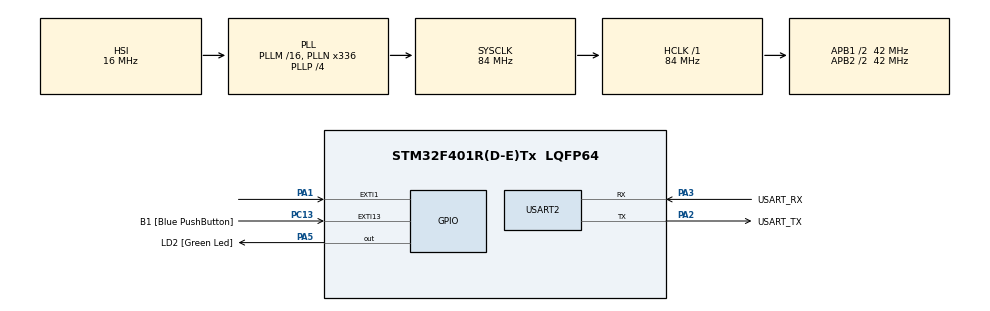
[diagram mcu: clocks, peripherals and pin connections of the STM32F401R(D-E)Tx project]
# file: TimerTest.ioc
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Mcu.Family=STM32F4
Mcu.Name=STM32F401R(D-E)Tx
Mcu.Package=LQFP64
NVIC.EXTI1_IRQn=true\:0\:0\:false\:false\:true\:true\:true
NVIC.PriorityGroup=NVIC_PRIORITYGROUP_0
NVIC.TIM1_BRK_TIM9_IRQn=true\:0\:0\:false\:false\:true\:true\:true
NVIC.TIM1_UP_TIM10_IRQn=true\:0\:0\:false\:false\:true\:true\:true
PA1.GPIO_ModeDefaultEXTI=GPIO_MODE_IT_RISING_FALLING
PA1.GPIO_PuPd=GPIO_PULLDOWN
PA1.Signal=GPXTI1
PA13.GPIO_Label=TMS
PA13.Mode=Serial_Wire
PA13.Signal=SYS_JTMS-SWDIO
PA14.GPIO_Label=TCK
PA14.Mode=Serial_Wire
PA14.Signal=SYS_JTCK-SWCLK
PA2.GPIO_Label=USART_TX
PA2.GPIO_Mode=GPIO_MODE_AF_PP
PA2.GPIO_PuPd=GPIO_NOPULL
PA2.GPIO_Speed=GPIO_SPEED_FREQ_LOW
PA2.Mode=Asynchronous
PA2.Signal=USART2_TX
PA3.GPIO_Label=USART_RX
PA3.GPIO_Mode=GPIO_MODE_AF_PP
PA3.GPIO_PuPd=GPIO_NOPULL
PA3.GPIO_Speed=GPIO_SPEED_FREQ_LOW
PA3.Mode=Asynchronous
PA3.Signal=USART2_RX
PA5.GPIO_Label=LD2 [Green Led]
PA5.GPIO_Mode=GPIO_MODE_OUTPUT_PP
PA5.GPIO_PuPd=GPIO_NOPULL
PA5.GPIO_Speed=GPIO_SPEED_FREQ_LOW
PA5.Signal=GPIO_Output
PB3.GPIO_Label=SWO
PB3.Signal=SYS_JTDO-SWO
PC13-ANTI_TAMP.GPIO_Label=B1 [Blue PushButton]
PC13-ANTI_TAMP.GPIO_ModeDefaultEXTI=GPIO_MODE_IT_FALLING
PC13-ANTI_TAMP.GPIO_PuPd=GPIO_NOPULL
PC13-ANTI_TAMP.Signal=GPXTI13
PC14-OSC32_IN.Mode=LSE-External-Oscillator
PC14-OSC32_IN.Signal=RCC_OSC32_IN
PC15-OSC32_OUT.Mode=LSE-External-Oscillator
PC15-OSC32_OUT.Signal=RCC_OSC32_OUT
PH0\ -\ OSC_IN.Mode=HSE-External-Clock-Source
PH0\ -\ OSC_IN.Signal=RCC_OSC_IN
PH1\ -\ OSC_OUT.Mode=HSE-External-Clock-Source
PH1\ -\ OSC_OUT.Signal=RCC_OSC_OUT
ProjectManager.HeapSize=0x200
ProjectManager.StackSize=0x400
ProjectManager.TargetToolchain=SW4STM32
RCC.48MHZClocksFreq_Value=48000000
RCC.AHBFreq_Value=84000000
RCC.APB1CLKDivider=RCC_HCLK_DIV2
RCC.APB1Freq_Value=42000000
RCC.APB1TimFreq_Value=84000000
RCC.APB2CLKDivider=RCC_HCLK_DIV2
RCC.APB2Freq_Value=42000000
RCC.APB2TimFreq_Value=84000000
RCC.CortexFreq_Value=84000000
RCC.HCLKFreq_Value=84000000
RCC.HSE_VALUE=8000000
RCC.HSI_VALUE=16000000
RCC.PLLN=336
RCC.PLLP=RCC_PLLP_DIV4
RCC.PLLQ=7
RCC.SYSCLKFreq_VALUE=84000000
RCC.SYSCLKSource=RCC_SYSCLKSOURCE_PLLCLK
RCC.VCOOutputFreq_Value=336000000
TIM1.Period=9999
TIM1.Prescaler=839
USART2.VirtualMode=VM_ASYNC
VP_TIM1_VS_ClockSourceINT.Mode=Internal
board=NUCLEO-F401RE

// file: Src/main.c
/* USER CODE BEGIN Header */
/**
  ******************************************************************************
  * @file           : main.c
  * @brief          : Main program body
  ******************************************************************************
  * @attention
  *
  * <h2><center>&copy; Copyright (c) 2021 STMicroelectronics.
  * All rights reserved.</center></h2>
  *
  * This software component is licensed by ST under BSD 3-Clause license,
  * the "License"; You may not use this file except in compliance with the
  * License. You may obtain a copy of the License at:
  *                        opensource.org/licenses/BSD-3-Clause
  *
  ******************************************************************************
  */
/* USER CODE END Header */
#include "main.h"

/* USER CODE BEGIN Includes */
#include <stdio.h>
#include "HC-SR501_API.h"
/* USER CODE END Includes */

TIM_HandleTypeDef htim1;

UART_HandleTypeDef huart2;

void SystemClock_Config(void);
static void MX_GPIO_Init(void);
static void MX_USART2_UART_Init(void);
static void MX_TIM1_Init(void);

int main(void)
{

  /* MCU Configuration--------------------------------------------------------*/

  /* Reset of all peripherals, Initializes the Flash interface and the Systick. */
  HAL_Init();

  /* Configure the system clock */
  SystemClock_Config();

  /* Initialize all configured peripherals */
  MX_GPIO_Init();
  MX_USART2_UART_Init();
  MX_TIM1_Init();
  /* USER CODE BEGIN 2 */

  HAL_TIM_Base_Start_IT(&htim1);

  Init_HC_API(GPIOA,GPIO_PIN_1, SINGLE);

  /* USER CODE END 2 */

  /* Infinite loop */
  /* USER CODE BEGIN WHILE */
  while (1)
  {

	  while(Get_State() == INITIALIZING)
	  {
		  HAL_GPIO_TogglePin(GPIOA, GPIO_PIN_5);
		  HAL_Delay(100);
	  }

	  while(Get_State() == NO_MOTION)
	  {
		  HAL_GPIO_TogglePin(GPIOA, GPIO_PIN_5);
		  HAL_Delay(2000);
	  }

	  while(Get_State() == TIME_DELAY)
	  {
		  HAL_GPIO_TogglePin(GPIOA, GPIO_PIN_5);
		  HAL_Delay(300);
	  }

	  while(Get_State() == DETECTION_BLOCKED)
	  {
		  HAL_GPIO_TogglePin(GPIOA, GPIO_PIN_5);
		  HAL_Delay(100);
	  }

  }

    /* USER CODE END WHILE */

}

void SystemClock_Config(void)
{
  RCC_OscInitTypeDef RCC_OscInitStruct = {0};
  RCC_ClkInitTypeDef RCC_ClkInitStruct = {0};

  /** Configure the main internal regulator output voltage
  */
  __HAL_RCC_PWR_CLK_ENABLE();
  __HAL_PWR_VOLTAGESCALING_CONFIG(PWR_REGULATOR_VOLTAGE_SCALE2);
  /** Initializes the RCC Oscillators according to the specified parameters
  * in the RCC_OscInitTypeDef structure.
  */
  RCC_OscInitStruct.OscillatorType = RCC_OSCILLATORTYPE_HSI;
  RCC_OscInitStruct.HSIState = RCC_HSI_ON;
  RCC_OscInitStruct.HSICalibrationValue = RCC_HSICALIBRATION_DEFAULT;
  RCC_OscInitStruct.PLL.PLLState = RCC_PLL_ON;
  RCC_OscInitStruct.PLL.PLLSource = RCC_PLLSOURCE_HSI;
  RCC_OscInitStruct.PLL.PLLM = 16;
  RCC_OscInitStruct.PLL.PLLN = 336;
  RCC_OscInitStruct.PLL.PLLP = RCC_PLLP_DIV4;
  RCC_OscInitStruct.PLL.PLLQ = 7;
  if (HAL_RCC_OscConfig(&RCC_OscInitStruct) != HAL_OK)
  {
    Error_Handler();
  }
  /** Initializes the CPU, AHB and APB buses clocks
  */
  RCC_ClkInitStruct.ClockType = RCC_CLOCKTYPE_HCLK|RCC_CLOCKTYPE_SYSCLK
                              |RCC_CLOCKTYPE_PCLK1|RCC_CLOCKTYPE_PCLK2;
  RCC_ClkInitStruct.SYSCLKSource = RCC_SYSCLKSOURCE_PLLCLK;
  RCC_ClkInitStruct.AHBCLKDivider = RCC_SYSCLK_DIV1;
  RCC_ClkInitStruct.APB1CLKDivider = RCC_HCLK_DIV2;
  RCC_ClkInitStruct.APB2CLKDivider = RCC_HCLK_DIV2;

  if (HAL_RCC_ClockConfig(&RCC_ClkInitStruct, FLASH_LATENCY_2) != HAL_OK)
  {
    Error_Handler();
  }
}

static void MX_TIM1_Init(void)
{

  TIM_ClockConfigTypeDef sClockSourceConfig = {0};
  TIM_MasterConfigTypeDef sMasterConfig = {0};

  htim1.Instance = TIM1;
  htim1.Init.Prescaler = 839;
  htim1.Init.CounterMode = TIM_COUNTERMODE_UP;
  htim1.Init.Period = 9999;
  htim1.Init.ClockDivision = TIM_CLOCKDIVISION_DIV1;
  htim1.Init.RepetitionCounter = 0;
  htim1.Init.AutoReloadPreload = TIM_AUTORELOAD_PRELOAD_DISABLE;
  if (HAL_TIM_Base_Init(&htim1) != HAL_OK)
  {
    Error_Handler();
  }
  sClockSourceConfig.ClockSource = TIM_CLOCKSOURCE_INTERNAL;
  if (HAL_TIM_ConfigClockSource(&htim1, &sClockSourceConfig) != HAL_OK)
  {
    Error_Handler();
  }
  sMasterConfig.MasterOutputTrigger = TIM_TRGO_RESET;
  sMasterConfig.MasterSlaveMode = TIM_MASTERSLAVEMODE_DISABLE;
  if (HAL_TIMEx_MasterConfigSynchronization(&htim1, &sMasterConfig) != HAL_OK)
  {
    Error_Handler();
  }

}

static void MX_USART2_UART_Init(void)
{

  huart2.Instance = USART2;
  huart2.Init.BaudRate = 115200;
  huart2.Init.WordLength = UART_WORDLENGTH_8B;
  huart2.Init.StopBits = UART_STOPBITS_1;
  huart2.Init.Parity = UART_PARITY_NONE;
  huart2.Init.Mode = UART_MODE_TX_RX;
  huart2.Init.HwFlowCtl = UART_HWCONTROL_NONE;
  huart2.Init.OverSampling = UART_OVERSAMPLING_16;
  if (HAL_UART_Init(&huart2) != HAL_OK)
  {
    Error_Handler();
  }

}

static void MX_GPIO_Init(void)
{
  GPIO_InitTypeDef GPIO_InitStruct = {0};

  /* GPIO Ports Clock Enable */
  __HAL_RCC_GPIOC_CLK_ENABLE();
  __HAL_RCC_GPIOH_CLK_ENABLE();
  __HAL_RCC_GPIOA_CLK_ENABLE();
  __HAL_RCC_GPIOB_CLK_ENABLE();

  /*Configure GPIO pin Output Level */
  HAL_GPIO_WritePin(LD2_GPIO_Port, LD2_Pin, GPIO_PIN_RESET);

  /*Configure GPIO pin : B1_Pin */
  GPIO_InitStruct.Pin = B1_Pin;
  GPIO_InitStruct.Mode = GPIO_MODE_IT_FALLING;
  GPIO_InitStruct.Pull = GPIO_NOPULL;
  HAL_GPIO_Init(B1_GPIO_Port, &GPIO_InitStruct);

  /*Configure GPIO pin : PA1 */
  GPIO_InitStruct.Pin = GPIO_PIN_1;
  GPIO_InitStruct.Mode = GPIO_MODE_IT_RISING_FALLING;
  GPIO_InitStruct.Pull = GPIO_PULLDOWN;
  HAL_GPIO_Init(GPIOA, &GPIO_InitStruct);

  /*Configure GPIO pin : LD2_Pin */
  GPIO_InitStruct.Pin = LD2_Pin;
  GPIO_InitStruct.Mode = GPIO_MODE_OUTPUT_PP;
  GPIO_InitStruct.Pull = GPIO_NOPULL;
  GPIO_InitStruct.Speed = GPIO_SPEED_FREQ_LOW;
  HAL_GPIO_Init(LD2_GPIO_Port, &GPIO_InitStruct);

  /* EXTI interrupt init*/
  HAL_NVIC_SetPriority(EXTI1_IRQn, 0, 0);
  HAL_NVIC_EnableIRQ(EXTI1_IRQn);

}

void Error_Handler(void)
{
  __disable_irq();
  while (1)
  {
  }
}

/************************ (C) COPYRIGHT STMicroelectronics *****END OF FILE****/
